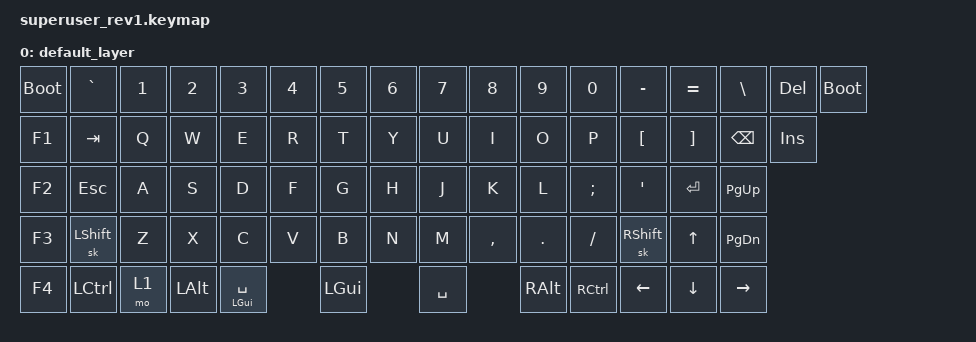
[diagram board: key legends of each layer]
/*
 * Copyright (c) 2020 The ZMK Contributors
 *
 * SPDX-License-Identifier: MIT
 */

#include <behaviors.dtsi>
#include <dt-bindings/zmk/keys.h>

/ {
    keymap {
        compatible = "zmk,keymap";

        default_layer {
            bindings = <
                &bootloader &kp GRAVE &kp N1 &kp N2   &kp N3    &kp N4 &kp N5   &kp N6   &kp N7    &kp N8    &kp N9   &kp N0    &kp MINUS &kp EQUAL &kp BSLH &kp DEL &bootloader
                &kp F1      &kp TAB   &kp Q  &kp W    &kp E     &kp R  &kp T    &kp Y    &kp U     &kp I     &kp O    &kp P     &kp LBKT  &kp RBKT  &kp BSPC &kp INS
                &kp F2      &kp ESC   &kp A  &kp S    &kp D     &kp F  &kp G    &kp H    &kp J     &kp K     &kp L    &kp SEMI  &kp APOS  &kp ENTER &kp PG_UP
                &kp F3      &sk LSHFT &kp Z  &kp X    &kp C     &kp V  &kp B    &kp N    &kp M     &kp COMMA &kp DOT  &kp SLASH &sk RSHFT &kp UP    &kp PG_DN
                &kp F4      &kp LCTRL &mo 1  &kp LALT &mt LGUI SPACE   &kp LGUI          &kp SPACE           &kp RALT &kp RCTRL &kp LEFT  &kp DOWN  &kp RIGHT
            >;
        };

        /// lower {
        ///     bindings = <
        ///         &kp LS(GRAVE) &kp LS(N1) &kp LS(N2) &kp LS(N3) &kp LS(N4) &kp LS(N5) &kp LS(N6) &kp LS(N7) &kp LS(N8) &kp LS(N9) &kp LS(N0) &kp DEL
        ///         &kp DEL &kp F1 &kp F2 &kp F3 &kp F4 &kp F5 &kp F6 &kp UNDER &kp PLUS &kp LBRC &kp RBRC &kp PIPE
        ///         &trans &kp F7 &kp F8 &kp F9 &kp F10 &kp F11 &kp F12 &kp LS(HASH) &kp LS(BSLH) &kp HOME &kp END &trans
        ///         &trans &trans &trans &trans &trans &trans &trans &trans &kp C_NEXT &kp C_VOL_DN &kp C_VOL_UP &kp C_PP
        ///     >;
        /// };
        ///
        /// raise {
        ///     bindings = <
        ///         &kp GRAVE &kp N1 &kp N2 &kp N3 &kp N4 &kp N5 &kp N6 &kp N7 &kp N8 &kp N9 &kp N0 &kp BSPC
        ///         &kp DEL &kp F1 &kp F2 &kp F3 &kp F4 &kp F5 &kp F6 &kp MINUS &kp EQUAL &kp LBKT &kp RBKT &kp BSLH
        ///         &trans &kp F7 &kp F8 &kp F9 &kp F10 &kp F11 &kp F12 &kp HASH &kp BSLH &kp PG_UP &kp PG_DN &trans
        ///         &sys_reset &bootloader &trans &trans &trans &trans &trans &trans &kp C_NEXT &kp C_VOL_DN &kp C_VOL_UP &kp C_PP
        ///     >;
        /// };
    };
};
